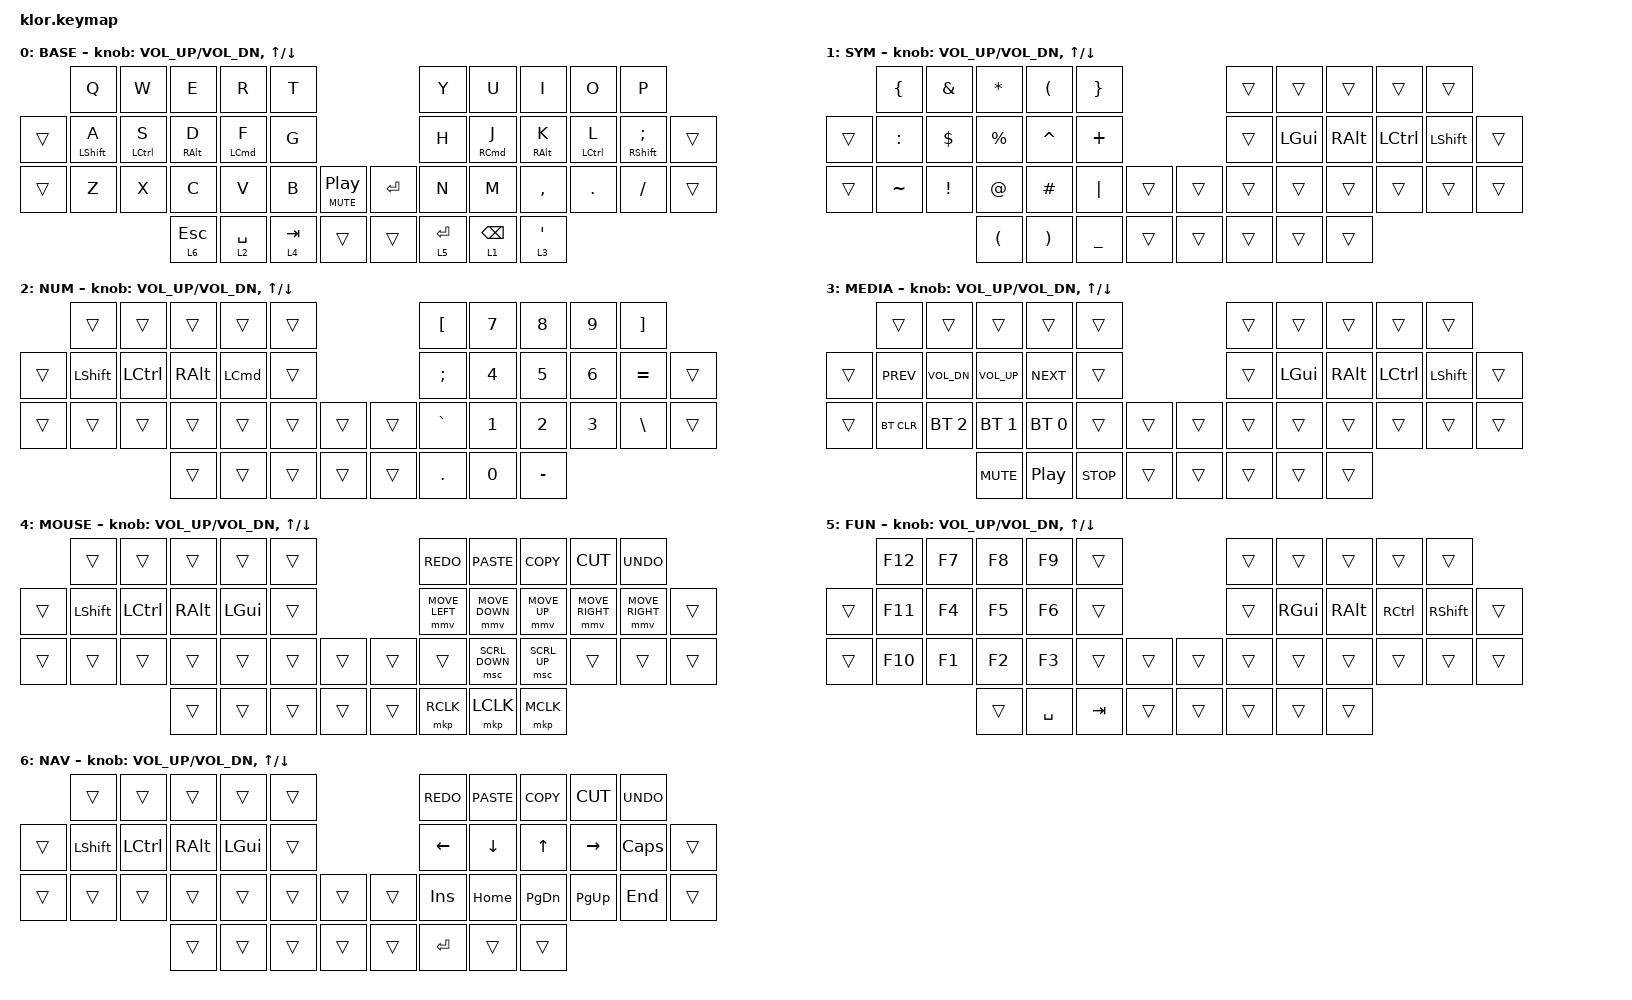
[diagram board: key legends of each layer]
//                               █         █    █            ▄▄▄▀▀▀▀▀▀▄▄▄        █▀▀▀▀▀▀▀▀▀▀█
//                               █        █     █          ▄▀            ▀▄      █          █
//                               █       █      █        ▄▀                ▀▄    █          █
//                               █      █       █        █                  █    █          █
//                               █     █        █       █                    █   █          █
//                               █    █         █       █                    █   █▄▄▄▄▄▄▄▄▄▄█
//                               █   █ █        █       █                    █   █      █
//                               █  █   █       █        █                  █    █       █
//                               █ █     █      █        ▀▄                ▄▀    █        █
//                               ██       █     █          ▀▄            ▄▀      █         █
//                               █         █    █▄▄▄▄▄▄▄▄    ▀▀▀▄▄▄▄▄▄▀▀▀        █          █
//
// ▄▄▄▄▄▄▄▄▄▄▄▄▄▄▄▄▄▄▄▄▄▄▄▄▄▄▄▄▄▄▄▄▄▄▄▄▄▄▄▄▄▄▄▄▄▄▄▄▄▄▄▄▄▄▄▄▄▄▄▄▄▄▄▄▄▄▄▄▄▄▄▄▄▄▄▄▄▄▄▄▄▄▄▄▄▄▄▄▄▄▄▄▄▄▄▄▄▄▄▄▄▄▄▄▄▄▄▄▄▄▄▄▄▄▄▄▄▄▄▄▄▄▄▄▄

#include <behaviors.dtsi>
#include <dt-bindings/zmk/bt.h>
#include <dt-bindings/zmk/keys.h>
#include <dt-bindings/zmk/pointing.h>

#define BASE   0
#define LOWER  1
#define RAISE  2
#define ADJUST 3

/ {
    behaviors {
        hm: homerow_mods {
            compatible = "zmk,behavior-hold-tap";
            label = "HOMEROW_MODS";
            #binding-cells = <2>;
            tapping-term-ms = <150>;
            quick_tap_ms = <0>;
            flavor = "tap-preferred";
            bindings = <&kp>, <&kp>;
        };
    };

    combos {
        compatible = "zmk,combos";

        combo_esc {
            timeout-ms = <50>;
            key-positions = <0 1>;
            bindings = <&kp ESC>;
        };
    };

    keymap {
        compatible = "zmk,keymap";

        // ▄▄▄▄▄▄▄▄▄▄▄▄▄▄▄▄▄▄▄▄▄▄▄▄▄▄▄▄▄▄▄▄▄▄▄▄▄▄▄▄▄▄▄▄▄▄▄▄▄▄▄▄▄▄▄▄▄▄▄▄▄▄▄▄▄▄▄▄▄▄▄▄▄▄▄▄▄▄▄▄▄▄▄▄▄▄▄▄▄▄▄▄▄▄▄▄▄▄▄▄▄▄▄▄▄▄▄▄▄▄▄▄▄▄▄▄▄▄▄▄▄▄▄▄▄▄▄▄▄▄▄▄▄▄▄▄▄▄▄▄▄▄

        base_layer {
            // ┌───────────────────────────────────────────────────────────┐

            label = "BASE";
            display-name = "BASE";

            // └───────────────────────────────────────────────────────────┘
            /*           ┌─────────┬─────────┬─────────┬─────────┬─────────┐                    ┌─────────┬─────────┬─────────┬─────────┬─────────┐
             │    Q    │    W    │    F    │    P    │    G    │                    │    J    │    L    │    U    │    Y    │    ;    │   
   ┌─────────┼─────────┼─────────┼─────────┼─────────┼─────────┤                    ├─────────┼─────────┼─────────┼─────────┼─────────┼─────────┐
   │   TAB   │    A    │    R    │    S    │    T    │    D    │                    │    H    │    N    │    E    │    I    │    O    │    "    │
   ├─────────┼─────────┼─────────┼─────────┼─────────┼─────────┤╭────────╮╭────────╮├─────────┼─────────┼─────────┼─────────┼─────────┼─────────┤
   │   DEL   │    Z    │    X    │    C    │    V    │    B    ││  MUTE  ││PLY/PSE ││    K    │    M    │    ,    │    .    │    /    │    \    │
   └─────────┴─────────┴─────────┼─────────┼─────────┼─────────┼╰────────╯╰────────╯┼─────────┼─────────┼─────────┼─────────┴─────────┴─────────┘
                                 │  CTRL   │  LOWER  │  SPACE  │   ALT   ││ CMD/WIN │  ENTER  │  RAISE  │  BSPCE  │  
                                 └─────────┴─────────┴─────────┴─────────┘└─────────┴─────────┴─────────┴─────────┘ */

            bindings = <
        &kp Q             &kp W        &kp E            &kp R               &kp T                                          &kp Y        &kp U                &kp I            &kp O        &kp P
&trans  &hm LEFT_SHIFT A  &hm LCTRL S  &hm RIGHT_ALT D  &hm LEFT_COMMAND F  &kp G                                          &kp H        &hm RIGHT_COMMAND J  &hm RIGHT_ALT K  &hm LCTRL L  &hm RIGHT_SHIFT SEMICOLON  &trans
&trans  &kp Z             &kp X        &kp C            &kp V               &kp B      &hm K_MUTE C_PLAY_PAUSE  &kp ENTER  &kp N        &kp M                &kp COMMA        &kp DOT      &kp FSLH                   &trans
                                       &lt 6 ESCAPE     &lt 2 SPACE         &lt 4 TAB  &trans                   &trans     &lt 5 ENTER  &lt 1 BACKSPACE      &lt 3 SQT
            >;

            sensor-bindings = <&inc_dec_kp C_VOL_UP C_VOL_DN &inc_dec_kp UP DOWN>;
        };

        SYM {
            // ┌───────────────────────────────────────────────────────────┐

            label = "SYM";
            display-name = "SYM";

            // └───────────────────────────────────────────────────────────┘
            /*           ┌─────────┬─────────┬─────────┬─────────┬─────────┐                    ┌─────────┬─────────┬─────────┬─────────┬─────────┐
             │         │         │         │         │         │                    │         │         │         │         │         │
   ┌─────────┼─────────┼─────────┼─────────┼─────────┼─────────┤                    ├─────────┼─────────┼─────────┼─────────┼─────────┼─────────┐
   │         │         │         │         │         │         │                    │         │         │         │         │         │         │
   ├─────────┼─────────┼─────────┼─────────┼─────────┼─────────┤╭────────╮╭────────╮├─────────┼─────────┼─────────┼─────────┼─────────┼─────────┤
   │         │         │         │         │         │         ││        ││        ││         │         │         │         │         │         │
   └─────────┴─────────┴─────────┼─────────┼─────────┼─────────┼╰────────╯╰────────╯┼─────────┼─────────┼─────────┼─────────┴─────────┴─────────┘
                                 │         │         │         │         ││         │         │         │         │  
                                 └─────────┴─────────┴─────────┴─────────┘└─────────┴─────────┴─────────┴─────────┘ */

            bindings = <
        &kp LEFT_BRACE  &kp AMPERSAND    &kp ASTERISK          &kp LEFT_PARENTHESIS   &kp RIGHT_BRACE                  &trans  &trans    &trans    &trans     &trans
&trans  &kp COLON       &kp DOLLAR       &kp PERCENT           &kp CARET              &kp PLUS                         &trans  &kp LGUI  &kp RALT  &kp LCTRL  &kp LSHFT  &trans
&trans  &kp TILDE       &kp EXCLAMATION  &kp AT_SIGN           &kp HASH               &kp PIPE         &trans  &trans  &trans  &trans    &trans    &trans     &trans     &trans
                                         &kp LEFT_PARENTHESIS  &kp RIGHT_PARENTHESIS  &kp UNDERSCORE   &trans  &trans  &trans  &trans    &trans
            >;

            sensor-bindings = <&inc_dec_kp C_VOL_UP C_VOL_DN &inc_dec_kp UP DOWN>;
        };

        NUM {
            // ┌───────────────────────────────────────────────────────────┐

            label = "RAISE";
            display-name = "NUM";

            // └───────────────────────────────────────────────────────────┘
            /*           ┌─────────┬─────────┬─────────┬─────────┬─────────┐                    ┌─────────┬─────────┬─────────┬─────────┬─────────┐
             │         │         │         │         │         │                    │         │         │    Ü    │         │         │
   ┌─────────┼─────────┼─────────┼─────────┼─────────┼─────────┤                    ├─────────┼─────────┼─────────┼─────────┼─────────┼─────────┐
   │    Ä    │         │    ß    │         │         │         │                    │         │         │         │         │    Ö    │         │
   ├─────────┼─────────┼─────────┼─────────┼─────────┼─────────┤╭────────╮╭────────╮├─────────┼─────────┼─────────┼─────────┼─────────┼─────────┤
   │         │         │         │         │         │         ││        ││        ││         │         │         │         │         │         │
   └─────────┴─────────┴─────────┼─────────┼─────────┼─────────┼╰────────╯╰────────╯┼─────────┼─────────┼─────────┼─────────┴─────────┴─────────┘
                                 │ ADJUST  │         │         │         ││         │         │         │         │  
                                 └─────────┴─────────┴─────────┴─────────┘└─────────┴─────────┴─────────┴─────────┘ */

            bindings = <
        &trans          &trans     &trans         &trans            &trans                  &kp LEFT_BRACKET  &kp N7        &kp N8        &kp N9        &kp RIGHT_BRACKET
&trans  &kp LEFT_SHIFT  &kp LCTRL  &kp RIGHT_ALT  &kp LEFT_COMMAND  &trans                  &kp SEMICOLON     &kp NUMBER_4  &kp N5        &kp NUMBER_6  &kp EQUAL          &trans
&trans  &trans          &trans     &trans         &trans            &trans  &trans  &trans  &kp GRAVE         &kp NUMBER_1  &kp NUMBER_2  &kp NUMBER_3  &kp BACKSLASH      &trans
                                   &trans         &trans            &trans  &trans  &trans  &kp PERIOD        &kp N0        &kp MINUS
            >;

            sensor-bindings = <&inc_dec_kp C_VOL_UP C_VOL_DN &inc_dec_kp UP DOWN>;
        };

        MEDIA {
            label = "MEDIA";
            display-name = "MEDIA";
            bindings = <
        &trans      &trans        &trans           &trans            &trans                      &trans  &trans    &trans    &trans     &trans
&trans  &kp C_PREV  &kp C_VOL_DN  &kp C_VOLUME_UP  &kp C_NEXT        &trans                      &trans  &kp LGUI  &kp RALT  &kp LCTRL  &kp LSHFT  &trans
&trans  &bt BT_CLR  &bt BT_SEL 2  &bt BT_SEL 1     &bt BT_SEL 0      &trans      &trans  &trans  &trans  &trans    &trans    &trans     &trans     &trans
                                  &kp K_MUTE       &kp C_PLAY_PAUSE  &kp C_STOP  &trans  &trans  &trans  &trans    &trans
            >;

            sensor-bindings = <&inc_dec_kp C_VOL_UP C_VOL_DN &inc_dec_kp UP DOWN>;
        };

        MOUSE {
            display-name = "MOUSE";
            bindings = <
        &trans     &trans     &trans    &trans    &trans                  &kp K_REDO      &kp K_PASTE     &kp K_COPY    &kp K_CUT        &kp K_UNDO
&trans  &kp LSHFT  &kp LCTRL  &kp RALT  &kp LGUI  &trans                  &mmv MOVE_LEFT  &mmv MOVE_DOWN  &mmv MOVE_UP  &mmv MOVE_RIGHT  &mmv MOVE_RIGHT  &trans
&trans  &trans     &trans     &trans    &trans    &trans  &trans  &trans  &trans          &msc SCRL_DOWN  &msc SCRL_UP  &trans           &trans           &trans
                              &trans    &trans    &trans  &trans  &trans  &mkp RCLK       &mkp LCLK       &mkp MCLK
            >;

            sensor-bindings = <&inc_dec_kp C_VOL_UP C_VOL_DN &inc_dec_kp UP DOWN>;
        };

        FUN {
            display-name = "FUN";
            bindings = <
        &kp F12  &kp F7  &kp F8  &kp F9     &trans                   &trans  &trans    &trans    &trans     &trans
&trans  &kp F11  &kp F4  &kp F5  &kp F6     &trans                   &trans  &kp RGUI  &kp RALT  &kp RCTRL  &kp RSHFT  &trans
&trans  &kp F10  &kp F1  &kp F2  &kp F3     &trans   &trans  &trans  &trans  &trans    &trans    &trans     &trans     &trans
                         &trans  &kp SPACE  &kp TAB  &trans  &trans  &trans  &trans    &trans
            >;

            sensor-bindings = <&inc_dec_kp C_VOL_UP C_VOL_DN &inc_dec_kp UP DOWN>;
        };

        NAV {
            display-name = "NAV";
            bindings = <
        &trans     &trans     &trans    &trans    &trans                  &kp K_REDO  &kp K_PASTE  &kp K_COPY     &kp K_CUT    &kp K_UNDO
&trans  &kp LSHFT  &kp LCTRL  &kp RALT  &kp LGUI  &trans                  &kp LEFT    &kp DOWN     &kp UP         &kp RIGHT    &kp CAPS    &trans
&trans  &trans     &trans     &trans    &trans    &trans  &trans  &trans  &kp INSERT  &kp HOME     &kp PAGE_DOWN  &kp PAGE_UP  &kp END     &trans
                              &trans    &trans    &trans  &trans  &trans  &kp ENTER   &trans       &trans
            >;

            sensor-bindings = <&inc_dec_kp C_VOL_UP C_VOL_DN &inc_dec_kp UP DOWN>;
        };
    };
};
